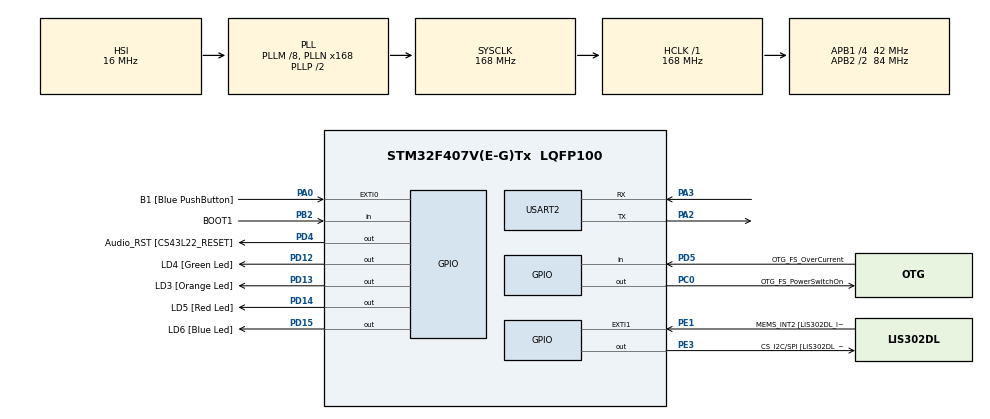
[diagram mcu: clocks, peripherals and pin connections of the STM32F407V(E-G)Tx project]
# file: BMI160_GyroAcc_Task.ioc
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Mcu.Family=STM32F4
Mcu.Name=STM32F407V(E-G)Tx
Mcu.Package=LQFP100
NVIC.PriorityGroup=NVIC_PRIORITYGROUP_4
NVIC.TIM6_DAC_IRQn=true\:0\:0\:false\:false\:true\:false\:true\:true
NVIC.TimeBase=TIM6_DAC_IRQn
NVIC.TimeBaseIP=TIM6
PA0-WKUP.GPIO_Label=B1 [Blue PushButton]
PA0-WKUP.Signal=GPXTI0
PA10.GPIO_Label=OTG_FS_ID
PA10.GPIO_Mode=GPIO_MODE_AF_PP
PA10.GPIO_PuPd=GPIO_NOPULL
PA10.GPIO_Speed=GPIO_SPEED_FREQ_LOW
PA10.Signal=USB_OTG_FS_ID
PA11.GPIO_Label=OTG_FS_DM
PA11.GPIO_Mode=GPIO_MODE_AF_PP
PA11.GPIO_PuPd=GPIO_NOPULL
PA11.GPIO_Speed=GPIO_SPEED_FREQ_LOW
PA11.Signal=USB_OTG_FS_DM
PA12.GPIO_Label=OTG_FS_DP
PA12.GPIO_Mode=GPIO_MODE_AF_PP
PA12.GPIO_PuPd=GPIO_NOPULL
PA12.GPIO_Speed=GPIO_SPEED_FREQ_LOW
PA12.Signal=USB_OTG_FS_DP
PA13.GPIO_Label=SWDIO
PA13.Mode=Serial_Wire
PA13.Signal=SYS_JTMS-SWDIO
PA14.GPIO_Label=SWCLK
PA14.Mode=Serial_Wire
PA14.Signal=SYS_JTCK-SWCLK
PA2.Mode=Asynchronous
PA2.Signal=USART2_TX
PA3.Mode=Asynchronous
PA3.Signal=USART2_RX
PA4.GPIO_Label=I2S3_WS [CS43L22_LRCK]
PA4.GPIO_Mode=GPIO_MODE_AF_PP
PA4.GPIO_PuPd=GPIO_NOPULL
PA4.GPIO_Speed=GPIO_SPEED_FREQ_LOW
PA4.Signal=I2S3_WS
PA5.GPIO_Label=SPI1_SCK [LIS302DL_SCL/SPC]
PA5.GPIO_Mode=GPIO_MODE_AF_PP
PA5.GPIO_PuPd=GPIO_NOPULL
PA5.GPIO_Speed=GPIO_SPEED_FREQ_LOW
PA5.Signal=SPI1_SCK
PA6.GPIO_Label=SPI1_MISO [LIS302DL_SDO]
PA6.GPIO_Mode=GPIO_MODE_AF_PP
PA6.GPIO_PuPd=GPIO_NOPULL
PA6.GPIO_Speed=GPIO_SPEED_FREQ_LOW
PA6.Signal=SPI1_MISO
PA7.GPIO_Label=SPI1_MOSI [LIS302DL_SDA/SDI/SDO]
PA7.GPIO_Mode=GPIO_MODE_AF_PP
PA7.GPIO_PuPd=GPIO_NOPULL
PA7.GPIO_Speed=GPIO_SPEED_FREQ_LOW
PA7.Signal=SPI1_MOSI
PA9.GPIO_Label=VBUS_FS
PA9.GPIO_Mode=GPIO_MODE_INPUT
PA9.GPIO_PuPd=GPIO_NOPULL
PA9.Signal=USB_OTG_FS_VBUS
PB10.GPIO_Label=CLK_IN [MP45DT02_CLK]
PB10.GPIO_Mode=GPIO_MODE_AF_PP
PB10.GPIO_PuPd=GPIO_NOPULL
PB10.GPIO_Speed=GPIO_SPEED_FREQ_LOW
PB10.Signal=I2S2_CK
PB2.GPIO_Label=BOOT1
PB2.GPIO_Mode=GPIO_MODE_INPUT
PB2.GPIO_PuPd=GPIO_NOPULL
PB2.Signal=GPIO_Input
PB3.GPIO_Label=SWO
PB3.Signal=SYS_JTDO-SWO
PB6.GPIO_Label=Audio_SCL [CS43L22_SCL]
PB6.GPIO_Mode=GPIO_MODE_AF_OD
PB6.GPIO_PuPd=GPIO_NOPULL
PB6.GPIO_Speed=GPIO_SPEED_FREQ_LOW
PB6.Signal=I2C1_SCL
PB9.GPIO_Label=Audio_SDA [CS43L22_SDA]
PB9.GPIO_Mode=GPIO_MODE_AF_OD
PB9.GPIO_PuPd=GPIO_NOPULL
PB9.GPIO_Speed=GPIO_SPEED_FREQ_LOW
PB9.Signal=I2C1_SDA
PC0.GPIO_Label=OTG_FS_PowerSwitchOn
PC0.GPIO_PuPd=GPIO_NOPULL
PC0.GPIO_Speed=GPIO_SPEED_FREQ_LOW
PC0.PinState=GPIO_PIN_SET
PC0.Signal=GPIO_Output
PC10.GPIO_Label=I2S3_SCK [CS43L22_SCLK]
PC10.GPIO_Mode=GPIO_MODE_AF_PP
PC10.GPIO_PuPd=GPIO_NOPULL
PC10.GPIO_Speed=GPIO_SPEED_FREQ_LOW
PC10.Signal=I2S3_CK
PC12.GPIO_Label=I2S3_SD [CS43L22_SDIN]
PC12.GPIO_Mode=GPIO_MODE_AF_PP
PC12.GPIO_PuPd=GPIO_NOPULL
PC12.GPIO_Speed=GPIO_SPEED_FREQ_LOW
PC12.Signal=I2S3_SD
PC14-OSC32_IN.GPIO_Label=PC14-OSC32_IN
PC14-OSC32_IN.Signal=RCC_OSC32_IN
PC15-OSC32_OUT.GPIO_Label=PC15-OSC32_OUT
PC15-OSC32_OUT.Signal=RCC_OSC32_OUT
PC3.GPIO_Label=PDM_OUT [MP45DT02_DOUT]
PC3.GPIO_Mode=GPIO_MODE_AF_PP
PC3.GPIO_PuPd=GPIO_NOPULL
PC3.GPIO_Speed=GPIO_SPEED_FREQ_LOW
PC3.Signal=I2S2_SD
PC7.GPIO_Label=I2S3_MCK [CS43L22_MCLK]
PC7.GPIO_Mode=GPIO_MODE_AF_PP
PC7.GPIO_PuPd=GPIO_NOPULL
PC7.GPIO_Speed=GPIO_SPEED_FREQ_LOW
PC7.Signal=I2S3_MCK
PD12.GPIO_Label=LD4 [Green Led]
PD12.GPIO_PuPd=GPIO_NOPULL
PD12.GPIO_Speed=GPIO_SPEED_FREQ_LOW
PD12.Signal=GPIO_Output
PD13.GPIO_Label=LD3 [Orange Led]
PD13.GPIO_PuPd=GPIO_NOPULL
PD13.GPIO_Speed=GPIO_SPEED_FREQ_LOW
PD13.Signal=GPIO_Output
PD14.GPIO_Label=LD5 [Red Led]
PD14.GPIO_PuPd=GPIO_NOPULL
PD14.GPIO_Speed=GPIO_SPEED_FREQ_LOW
PD14.Signal=GPIO_Output
PD15.GPIO_Label=LD6 [Blue Led]
PD15.GPIO_PuPd=GPIO_NOPULL
PD15.GPIO_Speed=GPIO_SPEED_FREQ_LOW
PD15.Signal=GPIO_Output
PD4.GPIO_Label=Audio_RST [CS43L22_RESET]
PD4.GPIO_PuPd=GPIO_NOPULL
PD4.GPIO_Speed=GPIO_SPEED_FREQ_LOW
PD4.Signal=GPIO_Output
PD5.GPIO_Label=OTG_FS_OverCurrent
PD5.GPIO_Mode=GPIO_MODE_INPUT
PD5.GPIO_PuPd=GPIO_NOPULL
PD5.Signal=GPIO_Input
PE1.GPIO_Label=MEMS_INT2 [LIS302DL_INT2]
PE1.GPIO_ModeDefaultEXTI=GPIO_MODE_EVT_RISING
PE1.GPIO_PuPd=GPIO_NOPULL
PE1.Signal=GPXTI1
PE3.GPIO_Label=CS_I2C/SPI [LIS302DL_CS_I2C/SPI]
PE3.GPIO_PuPd=GPIO_NOPULL
PE3.GPIO_Speed=GPIO_SPEED_FREQ_LOW
PE3.Signal=GPIO_Output
PH0-OSC_IN.GPIO_Label=PH0-OSC_IN
PH0-OSC_IN.Signal=RCC_OSC_IN
PH1-OSC_OUT.GPIO_Label=PH1-OSC_OUT
PH1-OSC_OUT.Signal=RCC_OSC_OUT
ProjectManager.HeapSize=0x200
ProjectManager.StackSize=0x400
ProjectManager.TargetToolchain=STM32CubeIDE
RCC.48MHZClocksFreq_Value=48000000
RCC.AHBFreq_Value=168000000
RCC.APB1CLKDivider=RCC_HCLK_DIV4
RCC.APB1Freq_Value=42000000
RCC.APB1TimFreq_Value=84000000
RCC.APB2CLKDivider=RCC_HCLK_DIV2
RCC.APB2Freq_Value=84000000
RCC.APB2TimFreq_Value=168000000
RCC.CortexFreq_Value=168000000
RCC.HCLKFreq_Value=168000000
RCC.HSE_VALUE=8000000
RCC.HSI_VALUE=16000000
RCC.LSE_VALUE=32768
RCC.PLLM=8
RCC.PLLN=168
RCC.PLLQ=7
RCC.SYSCLKFreq_VALUE=168000000
RCC.SYSCLKSource=RCC_SYSCLKSOURCE_PLLCLK
RCC.VCOOutputFreq_Value=336000000
USART2.Parity=PARITY_EVEN
USART2.VirtualMode=VM_ASYNC
VP_SYS_VS_tim6.Mode=TIM6
board=STM32F407G-DISC1

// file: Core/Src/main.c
/* USER CODE BEGIN Header */
/**
  ******************************************************************************
  * @file           : main.c
  * @brief          : Main program body
  ******************************************************************************
  * @attention
  *
  * Copyright (c) 2023 STMicroelectronics.
  * All rights reserved.
  *
  * This software is licensed under terms that can be found in the LICENSE file
  * in the root directory of this software component.
  * If no LICENSE file comes with this software, it is provided AS-IS.
  *
  ******************************************************************************
  */
/* USER CODE END Header */
#include "main.h"

/* USER CODE BEGIN Includes */
#include <stdio.h>
#include <stdint.h>
#include "FreeRTOS.h"
#include "task.h"
#include "queue.h"
#include "stm32f4xx.h"
#include "I2C.h"
#include "BMI160.h"

/* USER CODE END Includes */

/* USER CODE BEGIN PD */
// Define queue length and item size
#define QUEUE_LENGTH 10
#define ITEM_SIZE    sizeof(double)

/* USER CODE END PD */

UART_HandleTypeDef huart2;

/* USER CODE BEGIN PV */
QueueHandle_t xQueue = NULL;
/* USER CODE END PV */

void SystemClock_Config(void);
static void MX_GPIO_Init(void);
static void MX_USART2_UART_Init(void);
/* USER CODE BEGIN PFP */
static void vAccelerometerTask(void *pvParameters);
static void vUARTTask(void *pvParameters);

/* USER CODE END PFP */

int main(void)
{
  /* USER CODE BEGIN 1 */
	TaskHandle_t xAccelerometerTaskHandle = NULL;
	TaskHandle_t xUARTTaskHandle = NULL;

  /* USER CODE END 1 */

  /* MCU Configuration--------------------------------------------------------*/

  /* Reset of all peripherals, Initializes the Flash interface and the Systick. */
  HAL_Init();

  /* Configure the system clock */
  SystemClock_Config();

  /* Initialize all configured peripherals */
  MX_GPIO_Init();
  MX_USART2_UART_Init();
  /* USER CODE BEGIN 2 */
     // Create the queue to hold accelerometer data
     xQueue = xQueueCreate(QUEUE_LENGTH, ITEM_SIZE);

      // Create the accelerometer task
      xTaskCreate(vAccelerometerTask, "Accelerometer", 200, NULL, 2, &xAccelerometerTaskHandle);

      // Create the UART task
      xTaskCreate(vUARTTask, "UART", 200, NULL, 1, &xUARTTaskHandle);

      // Start the FreeRTOS scheduler
      vTaskStartScheduler();
  /* USER CODE END 2 */

  /* Infinite loop */
  while (1)
  {

  }
}

void SystemClock_Config(void)
{
  RCC_OscInitTypeDef RCC_OscInitStruct = {0};
  RCC_ClkInitTypeDef RCC_ClkInitStruct = {0};

  /** Configure the main internal regulator output voltage
  */
  __HAL_RCC_PWR_CLK_ENABLE();
  __HAL_PWR_VOLTAGESCALING_CONFIG(PWR_REGULATOR_VOLTAGE_SCALE1);

  /** Initializes the RCC Oscillators according to the specified parameters
  * in the RCC_OscInitTypeDef structure.
  */
  RCC_OscInitStruct.OscillatorType = RCC_OSCILLATORTYPE_HSI;
  RCC_OscInitStruct.HSIState = RCC_HSI_ON;
  RCC_OscInitStruct.HSICalibrationValue = RCC_HSICALIBRATION_DEFAULT;
  RCC_OscInitStruct.PLL.PLLState = RCC_PLL_ON;
  RCC_OscInitStruct.PLL.PLLSource = RCC_PLLSOURCE_HSI;
  RCC_OscInitStruct.PLL.PLLM = 8;
  RCC_OscInitStruct.PLL.PLLN = 168;
  RCC_OscInitStruct.PLL.PLLP = RCC_PLLP_DIV2;
  RCC_OscInitStruct.PLL.PLLQ = 7;
  if (HAL_RCC_OscConfig(&RCC_OscInitStruct) != HAL_OK)
  {
    Error_Handler();
  }

  /** Initializes the CPU, AHB and APB buses clocks
  */
  RCC_ClkInitStruct.ClockType = RCC_CLOCKTYPE_HCLK|RCC_CLOCKTYPE_SYSCLK
                              |RCC_CLOCKTYPE_PCLK1|RCC_CLOCKTYPE_PCLK2;
  RCC_ClkInitStruct.SYSCLKSource = RCC_SYSCLKSOURCE_PLLCLK;
  RCC_ClkInitStruct.AHBCLKDivider = RCC_SYSCLK_DIV1;
  RCC_ClkInitStruct.APB1CLKDivider = RCC_HCLK_DIV4;
  RCC_ClkInitStruct.APB2CLKDivider = RCC_HCLK_DIV2;

  if (HAL_RCC_ClockConfig(&RCC_ClkInitStruct, FLASH_LATENCY_5) != HAL_OK)
  {
    Error_Handler();
  }
}

static void MX_USART2_UART_Init(void)
{

  huart2.Instance = USART2;
  huart2.Init.BaudRate = 115200;
  huart2.Init.WordLength = UART_WORDLENGTH_8B;
  huart2.Init.StopBits = UART_STOPBITS_1;
  huart2.Init.Parity = UART_PARITY_EVEN;
  huart2.Init.Mode = UART_MODE_TX_RX;
  huart2.Init.HwFlowCtl = UART_HWCONTROL_NONE;
  huart2.Init.OverSampling = UART_OVERSAMPLING_16;
  if (HAL_UART_Init(&huart2) != HAL_OK)
  {
    Error_Handler();
  }

}

static void MX_GPIO_Init(void)
{
  GPIO_InitTypeDef GPIO_InitStruct = {0};

  /* GPIO Ports Clock Enable */
  __HAL_RCC_GPIOE_CLK_ENABLE();
  __HAL_RCC_GPIOC_CLK_ENABLE();
  __HAL_RCC_GPIOH_CLK_ENABLE();
  __HAL_RCC_GPIOA_CLK_ENABLE();
  __HAL_RCC_GPIOB_CLK_ENABLE();
  __HAL_RCC_GPIOD_CLK_ENABLE();

  /*Configure GPIO pin Output Level */
  HAL_GPIO_WritePin(CS_I2C_SPI_GPIO_Port, CS_I2C_SPI_Pin, GPIO_PIN_RESET);

  /*Configure GPIO pin Output Level */
  HAL_GPIO_WritePin(OTG_FS_PowerSwitchOn_GPIO_Port, OTG_FS_PowerSwitchOn_Pin, GPIO_PIN_SET);

  /*Configure GPIO pin Output Level */
  HAL_GPIO_WritePin(GPIOD, LD4_Pin|LD3_Pin|LD5_Pin|LD6_Pin
                          |Audio_RST_Pin, GPIO_PIN_RESET);

  /*Configure GPIO pin : CS_I2C_SPI_Pin */
  GPIO_InitStruct.Pin = CS_I2C_SPI_Pin;
  GPIO_InitStruct.Mode = GPIO_MODE_OUTPUT_PP;
  GPIO_InitStruct.Pull = GPIO_NOPULL;
  GPIO_InitStruct.Speed = GPIO_SPEED_FREQ_LOW;
  HAL_GPIO_Init(CS_I2C_SPI_GPIO_Port, &GPIO_InitStruct);

  /*Configure GPIO pin : OTG_FS_PowerSwitchOn_Pin */
  GPIO_InitStruct.Pin = OTG_FS_PowerSwitchOn_Pin;
  GPIO_InitStruct.Mode = GPIO_MODE_OUTPUT_PP;
  GPIO_InitStruct.Pull = GPIO_NOPULL;
  GPIO_InitStruct.Speed = GPIO_SPEED_FREQ_LOW;
  HAL_GPIO_Init(OTG_FS_PowerSwitchOn_GPIO_Port, &GPIO_InitStruct);

  /*Configure GPIO pin : PDM_OUT_Pin */
  GPIO_InitStruct.Pin = PDM_OUT_Pin;
  GPIO_InitStruct.Mode = GPIO_MODE_AF_PP;
  GPIO_InitStruct.Pull = GPIO_NOPULL;
  GPIO_InitStruct.Speed = GPIO_SPEED_FREQ_LOW;
  GPIO_InitStruct.Alternate = GPIO_AF5_SPI2;
  HAL_GPIO_Init(PDM_OUT_GPIO_Port, &GPIO_InitStruct);

  /*Configure GPIO pin : B1_Pin */
  GPIO_InitStruct.Pin = B1_Pin;
  GPIO_InitStruct.Mode = GPIO_MODE_IT_RISING;
  GPIO_InitStruct.Pull = GPIO_NOPULL;
  HAL_GPIO_Init(B1_GPIO_Port, &GPIO_InitStruct);

  /*Configure GPIO pin : I2S3_WS_Pin */
  GPIO_InitStruct.Pin = I2S3_WS_Pin;
  GPIO_InitStruct.Mode = GPIO_MODE_AF_PP;
  GPIO_InitStruct.Pull = GPIO_NOPULL;
  GPIO_InitStruct.Speed = GPIO_SPEED_FREQ_LOW;
  GPIO_InitStruct.Alternate = GPIO_AF6_SPI3;
  HAL_GPIO_Init(I2S3_WS_GPIO_Port, &GPIO_InitStruct);

  /*Configure GPIO pins : SPI1_SCK_Pin SPI1_MISO_Pin SPI1_MOSI_Pin */
  GPIO_InitStruct.Pin = SPI1_SCK_Pin|SPI1_MISO_Pin|SPI1_MOSI_Pin;
  GPIO_InitStruct.Mode = GPIO_MODE_AF_PP;
  GPIO_InitStruct.Pull = GPIO_NOPULL;
  GPIO_InitStruct.Speed = GPIO_SPEED_FREQ_LOW;
  GPIO_InitStruct.Alternate = GPIO_AF5_SPI1;
  HAL_GPIO_Init(GPIOA, &GPIO_InitStruct);

  /*Configure GPIO pin : BOOT1_Pin */
  GPIO_InitStruct.Pin = BOOT1_Pin;
  GPIO_InitStruct.Mode = GPIO_MODE_INPUT;
  GPIO_InitStruct.Pull = GPIO_NOPULL;
  HAL_GPIO_Init(BOOT1_GPIO_Port, &GPIO_InitStruct);

  /*Configure GPIO pin : CLK_IN_Pin */
  GPIO_InitStruct.Pin = CLK_IN_Pin;
  GPIO_InitStruct.Mode = GPIO_MODE_AF_PP;
  GPIO_InitStruct.Pull = GPIO_NOPULL;
  GPIO_InitStruct.Speed = GPIO_SPEED_FREQ_LOW;
  GPIO_InitStruct.Alternate = GPIO_AF5_SPI2;
  HAL_GPIO_Init(CLK_IN_GPIO_Port, &GPIO_InitStruct);

  /*Configure GPIO pins : LD4_Pin LD3_Pin LD5_Pin LD6_Pin
                           Audio_RST_Pin */
  GPIO_InitStruct.Pin = LD4_Pin|LD3_Pin|LD5_Pin|LD6_Pin
                          |Audio_RST_Pin;
  GPIO_InitStruct.Mode = GPIO_MODE_OUTPUT_PP;
  GPIO_InitStruct.Pull = GPIO_NOPULL;
  GPIO_InitStruct.Speed = GPIO_SPEED_FREQ_LOW;
  HAL_GPIO_Init(GPIOD, &GPIO_InitStruct);

  /*Configure GPIO pins : I2S3_MCK_Pin I2S3_SCK_Pin I2S3_SD_Pin */
  GPIO_InitStruct.Pin = I2S3_MCK_Pin|I2S3_SCK_Pin|I2S3_SD_Pin;
  GPIO_InitStruct.Mode = GPIO_MODE_AF_PP;
  GPIO_InitStruct.Pull = GPIO_NOPULL;
  GPIO_InitStruct.Speed = GPIO_SPEED_FREQ_LOW;
  GPIO_InitStruct.Alternate = GPIO_AF6_SPI3;
  HAL_GPIO_Init(GPIOC, &GPIO_InitStruct);

  /*Configure GPIO pin : VBUS_FS_Pin */
  GPIO_InitStruct.Pin = VBUS_FS_Pin;
  GPIO_InitStruct.Mode = GPIO_MODE_INPUT;
  GPIO_InitStruct.Pull = GPIO_NOPULL;
  HAL_GPIO_Init(VBUS_FS_GPIO_Port, &GPIO_InitStruct);

  /*Configure GPIO pins : OTG_FS_ID_Pin OTG_FS_DM_Pin OTG_FS_DP_Pin */
  GPIO_InitStruct.Pin = OTG_FS_ID_Pin|OTG_FS_DM_Pin|OTG_FS_DP_Pin;
  GPIO_InitStruct.Mode = GPIO_MODE_AF_PP;
  GPIO_InitStruct.Pull = GPIO_NOPULL;
  GPIO_InitStruct.Speed = GPIO_SPEED_FREQ_LOW;
  GPIO_InitStruct.Alternate = GPIO_AF10_OTG_FS;
  HAL_GPIO_Init(GPIOA, &GPIO_InitStruct);

  /*Configure GPIO pin : OTG_FS_OverCurrent_Pin */
  GPIO_InitStruct.Pin = OTG_FS_OverCurrent_Pin;
  GPIO_InitStruct.Mode = GPIO_MODE_INPUT;
  GPIO_InitStruct.Pull = GPIO_NOPULL;
  HAL_GPIO_Init(OTG_FS_OverCurrent_GPIO_Port, &GPIO_InitStruct);

  /*Configure GPIO pins : Audio_SCL_Pin Audio_SDA_Pin */
  GPIO_InitStruct.Pin = Audio_SCL_Pin|Audio_SDA_Pin;
  GPIO_InitStruct.Mode = GPIO_MODE_AF_OD;
  GPIO_InitStruct.Pull = GPIO_NOPULL;
  GPIO_InitStruct.Speed = GPIO_SPEED_FREQ_LOW;
  GPIO_InitStruct.Alternate = GPIO_AF4_I2C1;
  HAL_GPIO_Init(GPIOB, &GPIO_InitStruct);

  /*Configure GPIO pin : MEMS_INT2_Pin */
  GPIO_InitStruct.Pin = MEMS_INT2_Pin;
  GPIO_InitStruct.Mode = GPIO_MODE_EVT_RISING;
  GPIO_InitStruct.Pull = GPIO_NOPULL;
  HAL_GPIO_Init(MEMS_INT2_GPIO_Port, &GPIO_InitStruct);

}

/* USER CODE BEGIN 4 */

static void vAccelerometerTask(void *pvParameters)
{
    int16_t x, y, z;
    extern uint8_t Acc_Val[6];

    bmi_init();

    while (1)
    {
        bmi_read_values(DATA_START_ADDR);

        x = ((Acc_Val[1] << 8) | Acc_Val[0]);
        y = ((Acc_Val[3] << 8) | Acc_Val[2]);
        z = ((Acc_Val[5] << 8) | Acc_Val[4]);

        // Send data to the queue
        double accelData[3] = {x, y, z};
        xQueueSend(xQueue, (void *)accelData, portMAX_DELAY);
    }
}

static void vUARTTask(void *pvParameters)
{
    double accelData[3];

    while (1)
    {
        // Receive data from the queue
        if (xQueueReceive(xQueue, &accelData, portMAX_DELAY) == pdPASS)
        {
            // Convert data to string
            char str[50];
           // sprintf(str, "x:%f, y:%f, z:%f\r\n", accelData[0], accelData[1], accelData[2]);

            // Send data to UART
            HAL_UART_Transmit(&huart2, (uint8_t*)str, strlen(str), HAL_MAX_DELAY);
        }
    }
}
/* USER CODE END 4 */

void HAL_TIM_PeriodElapsedCallback(TIM_HandleTypeDef *htim)
{
  if (htim->Instance == TIM6) {
    HAL_IncTick();
  }
}

void Error_Handler(void)
{
  __disable_irq();
  while (1)
  {
  }
}
